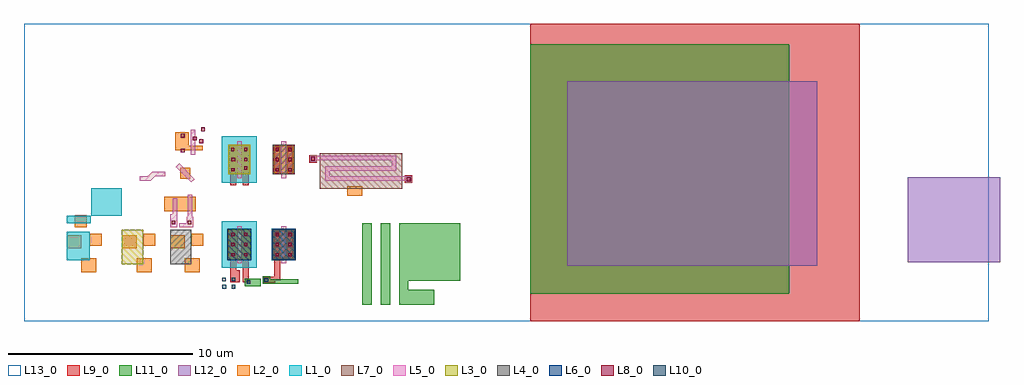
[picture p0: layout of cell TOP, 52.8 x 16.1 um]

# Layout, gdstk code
import gdstk
lib = gdstk.Library(unit=1e-6, precision=1e-09)
def R(c, l, rs):  # rectangles x0, y0, x1, y1
    for r in rs: c.add(gdstk.rectangle(r[:2], r[2:], *l))
def A(c, l, x, y, w, h, nx, ny, dx, dy):  # array of equal rectangles
    R(c, l, [(x+i*dx, y+j*dy, x+i*dx+w, y+j*dy+h) for i in range(nx) for j in range(ny)])
def P(c, l, *ps):  # polygons
    for p in ps: c.add(gdstk.Polygon(p, *l))
L1_0 = (1, 0)
L2_0 = (2, 0)
L3_0 = (3, 0)
L4_0 = (4, 0)
L5_0 = (5, 0)
L6_0 = (6, 0)
L7_0 = (7, 0)
L8_0 = (8, 0)
L9_0 = (9, 0)
L10_0 = (10, 0)
L11_0 = (11, 0)
L12_0 = (12, 0)
L13_0 = (13, 0)

top = lib.new_cell('TOP')
R(top, L1_0, [(0.305,-4.6,2.195,-2.1), (-8.1,-4.2,-6.85,-2.65), (-8.1,-2.2,-6.8,-1.8), (-6.75,-1.8,-5.1,-0.3), (0.305,0,2.195,2.5)])
R(top, L2_0, [(-7.3,-4.85,-6.5,-4.1), (-4.3,-4.85,-3.5,-4.1), (-1.7,-4.85,-0.9,-4.1), (0.705,-4.1,1.795,-2.6), (0.705,-4.1,1.795,-2.6), (3.105,-4.1,4.195,-2.6), (-8.1,-3.55,-7.3,-2.85), (-5.1,-3.55,-4.3,-2.85), (-2.5,-3.55,-1.7,-2.85), (-6.85,-3.4,-6.2,-2.75), (-3.95,-3.4,-3.3,-2.75), (-1.35,-3.4,-0.7,-2.75), (-7.65,-2.4,-7,-1.75), (-2.8,-1.55,-1.1,-0.75), (7.1,-0.7,7.9,-0.2), (-1.95,0.2,-1.4,0.8), (0.705,0.5,1.795,2), (3.105,0.5,4.195,2)])
P(top, L2_0, [(-2.23,1.75),(-2.23,2.72),(-1.48,2.72),(-1.48,2),(-0.72,2),(-0.72,1.75)])
R(top, L3_0, [(-5.1,-4.4,-3.95,-2.55), (0.65,-4.15,1.85,-2.55), (0.65,-4.15,1.85,-2.55), (0.65,0.45,1.85,2.05)])
R(top, L4_0, [(-2.5,-4.4,-1.35,-2.55), (3.05,-4.15,4.25,-2.55), (3.05,0.45,4.25,2.05)])
R(top, L5_0, [(1.125,-4.35,1.375,-2.35), (1.125,-4.35,1.375,-2.35), (3.525,-4.35,3.775,-2.35), (-2.5,-2.4,-2.1,-1.72), (-2,-2.4,-1.55,-2.2), (-1.59,-2.4,-1.24,-1.85), (-2.35,-1.85,-2.1,-0.85), (-1.55,-1.85,-1.3,-0.65), (10.25,0.03,10.57,0.35), (1.125,0.25,1.375,2.25), (3.525,0.25,3.775,2.25), (5.08,1.13,5.4,1.45), (-1.39,1.5,-1.14,2.86)])
P(top, L5_0, [(-4.15,0.1),(-4.15,0.35),(-3.7,0.35),(-3.45,0.6),(-2.75,0.6),(-2.75,0.35),(-3.3,0.35),(-3.55,0.1)],
  [(-1.339,0.017),(-2.188,0.866),(-2.011,1.043),(-1.162,0.194)])
R(top, L6_0, [(0.6,-4.2,1.9,-2.5), (3,-4.2,4.3,-2.5)])
R(top, L7_0, [(5.6,-0.34,10.05,1.6)])
A(top, L8_0, 3.215, -3.99, 0.18, 0.18, 1, 3, 0, 0.55)
A(top, L8_0, 3.905, -3.99, 0.18, 0.18, 1, 3, 0, 0.55)
A(top, L8_0, 3.215, 0.61, 0.18, 0.18, 1, 3, 0, 0.55)
A(top, L8_0, 3.905, 0.61, 0.18, 0.18, 1, 3, 0, 0.55)
R(top, L8_0, [(0.815,-3.99,0.995,-3.81), (0.815,-3.99,0.995,-3.81), (1.505,-3.99,1.685,-3.81), (1.505,-3.99,1.685,-3.81), (0.815,-3.44,0.995,-3.26), (0.815,-3.44,0.995,-3.26), (1.505,-3.44,1.685,-3.26), (1.505,-3.44,1.685,-3.26), (0.815,-2.89,0.995,-2.71), (0.815,-2.89,0.995,-2.71), (1.505,-2.89,1.685,-2.71), (1.505,-2.89,1.685,-2.71), (-2.41,-2.26,-2.21,-2.06), (-1.54,-2.26,-1.34,-2.06), (10.31,0.09,10.51,0.29), (0.815,0.61,0.995,0.79), (1.505,0.71,1.685,0.89), (0.815,1.16,1.015,1.34), (1.505,1.16,1.685,1.34), (5.14,1.19,5.34,1.39), (-1.91,1.64,-1.71,1.84), (0.815,1.71,0.975,1.89), (1.505,1.71,1.685,1.89), (-0.91,2.14,-0.71,2.34), (-1.26,2.29,-1.06,2.49), (-1.91,2.44,-1.71,2.64), (-0.81,2.79,-0.61,2.99)])
R(top, L9_0, [(17,-7.5,34.8,8.6), (2.55,-5.41,3.19,-5.1), (0.76,-5.38,1.26,-4.73), (1.44,-5.38,1.75,-2.63), (3.15,-5.29,3.47,-2.63), (0.76,-4.75,1.07,-2.63), (3.83,-4.09,4.15,-2.63), (0.76,-0.14,1.07,1.98), (1.44,-0.14,1.75,1.98), (10.21,-0.01,10.61,0.39), (3.15,0.52,3.47,1.98), (3.83,0.52,4.15,1.98), (5.04,1.09,5.44,1.49)])
R(top, L10_0, [(0.33,-5.73,0.55,-5.53), (0.83,-5.73,1.03,-5.53), (1.65,-5.47,1.85,-5.27), (2.61,-5.36,2.81,-5.16), (0.33,-5.34,0.51,-5.14), (0.83,-5.34,1.03,-5.14)])
R(top, L11_0, [(7.9,-6.6,8.4,-2.2), (8.9,-6.6,9.4,-2.2), (9.9,-6.6,10.4,-4.9), (10.2,-6.6,11.8,-5.8), (17,-6,31,7.5), (1.55,-5.6,2.4,-5.2), (2.51,-5.46,2.91,-5.06), (2.91,-5.46,4.44,-5.22), (9.9,-5.3,13.2,-2.2)])
R(top, L12_0, [(19,-4.5,32.5,5.5), (37.4,-4.3,42.4,0.3)])
R(top, L13_0, [(-10.4,-7.5,41.8,8.6)])
top.add(gdstk.FlexPath([(5.4,1.325),(9.625,1.325),(9.625,0.775),(6.025,0.775),(6.025,0.225),(10.25,0.225)], 0.25, ends="flush", simple_path=True, layer=5, datatype=0))  # L5_0

lib.write_gds('TOP.gds')
